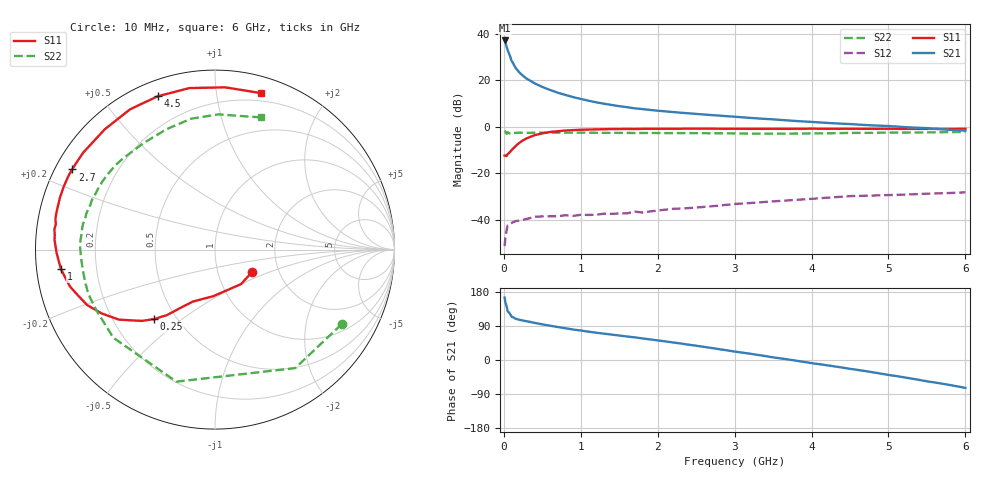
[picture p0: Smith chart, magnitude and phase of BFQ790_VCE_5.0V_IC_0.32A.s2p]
! (c) 2015  Infineon Technologies AG, Munich
! Infineon Technologies  Discrete & RF Semiconductors
! BFQ790
! VCE =  5.0 V,  IC = 0.32 A
! Common Emitter S-Parameters:  May 2015
# GHz  S  MA  R  50
!  f  S11  S21  S12  S22
! GHz  MAG  ANG  MAG  ANG  MAG  ANG  MAG  ANG
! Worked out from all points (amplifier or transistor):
!   77 points, 10 MHz to 6 GHz, reference 50 ohm
!   highest |S21| = 37.2 dB at 10 MHz (marker M1)
!   |S21| within 3 dB of that: start of sweep to 38.88 MHz
!   unconditionally stable (mu >= 1): 160.2 MHz to end of sweep
!   at 130 MHz: K = 0.90, MSG = 33.9 dB, |S12| = -40.9 dB
!   at 2.2 GHz: K = 1.34, MAG = 17.4 dB, |S12| = -35.3 dB
!   at 6 GHz: K = 1.12, MAG = 11.1 dB, |S12| = -28.2 dB
!   S11 on the Smith chart (normalised r, x): 10 MHz: 1.46, -0.38; 250 MHz: 0.38, -0.40; 1 GHz: 0.07, -0.06; 2.7 GHz: 0.05, +0.26; 4.5 GHz: 0.07, +0.69; 6 GHz: 0.13, +1.33
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0.01  0.2413 -30.8  72.42 164.8  0.0027 56.8  0.819 -30.5
0.02  0.2409 -52.9  65.68 151.9  0.0041 55.8  0.7974 -55.9
0.05  0.2596 -92.0  44.53 128.3  0.0076 37.8  0.7664 -106.3
0.1  0.3143 -113.0  26.51 114.3  0.0085 21.0  0.7496 -139.1
0.15  0.3824 -121.1  18.93 109.0  0.0093 22.1  0.7428 -153.2
0.2  0.4518 -126.2  14.95 106.2  0.0096 23.5  0.7476 -160.7
0.25  0.5145 -131.2  12.5 104.0  0.01 18.8  0.7456 -165.6
0.3  0.5688 -135.7  10.79 102.0  0.0104 16.0  0.7449 -169.4
0.4  0.6623 -143.9  8.646 97.9  0.0117 16.2  0.7463 -174.6
0.5  0.7245 -150.6  7.224 94.1  0.0118 15.6  0.7488 -178.3
0.7  0.8043 -161.4  5.44 87.0  0.0119 15.8  0.7513 176.0
0.9  0.8502 -169.7  4.367 80.5  0.0121 12.0  0.7487 172.2
1  0.8656 -172.9  3.993 77.8  0.0128 12.7  0.7499 170.4
1.1  0.8743 -176.3  3.657 74.8  0.0127 15.9  0.7481 168.6
1.5  0.8963 174.7  2.788 64.6  0.0137 15.0  0.7419 162.9
2.1  0.9088 163.5  2.153 49.1  0.0165 16.5  0.7347 154.1
2.7  0.9122 150.7  1.793 31.7  0.0195 13.1  0.7282 142.5
3.1  0.9084 141.4  1.605 19.5  0.0224 7.4  0.7182 133.4
4.1  0.9109 119.1  1.247 -11.0  0.029 -7.1  0.7242 109.7
4.5  0.9119 110.5  1.149 -23.3  0.0323 -13.9  0.7411 100.4
5.1  0.9066 96.5  1.016 -42.4  0.0343 -26.8  0.753 86.4
6  0.9088 73.6  0.829 -73.6  0.0389 -47.8  0.7801 70.8
